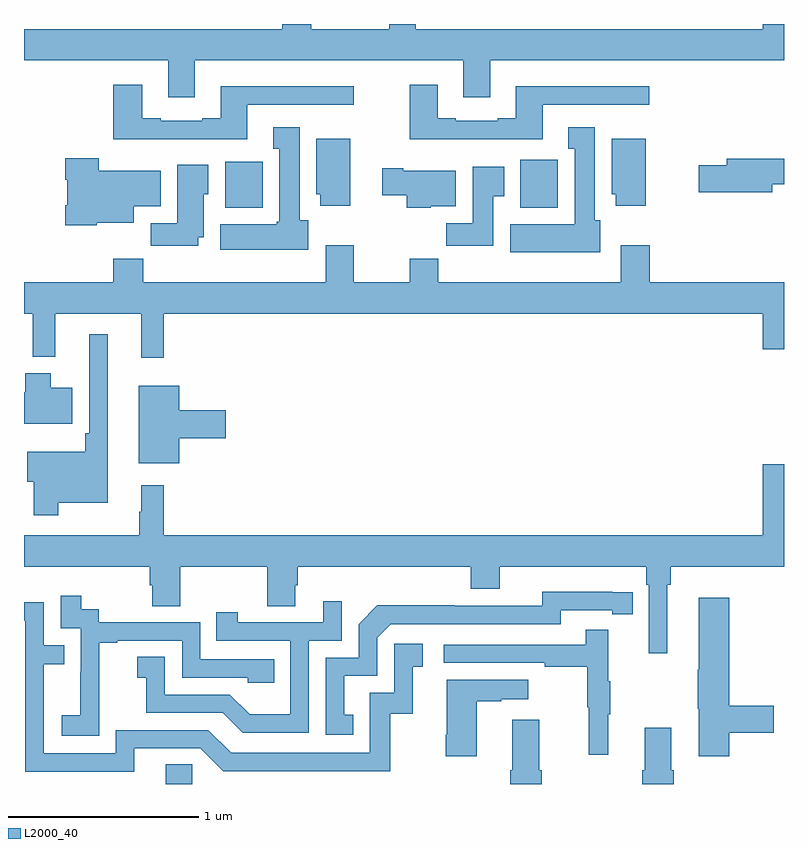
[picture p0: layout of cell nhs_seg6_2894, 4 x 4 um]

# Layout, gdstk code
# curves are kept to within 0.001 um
import gdstk
lib = gdstk.Library(unit=1e-6, precision=1e-09)
def R(c, l, rs):  # rectangles x0, y0, x1, y1
    for r in rs: c.add(gdstk.rectangle(r[:2], r[2:], *l))
def P(c, l, *ps):  # polygons
    for p in ps: c.add(gdstk.Polygon(p, *l))
L2000_40 = (2000, 40)

nhs_seg6_2894 = lib.new_cell('nhs_seg6_2894')
R(nhs_seg6_2894, L2000_40, [(281.747,971.5,281.886,971.603), (282.059,974.534,282.256,974.776), (283.613,974.534,283.809,974.785)])
P(nhs_seg6_2894, L2000_40, [(281.899,975.308),(283.313,975.308),(283.313,975.114),(283.453,975.114),(283.453,975.308),(285,975.308),(285,975.5),(284.888,975.5),(284.888,975.472),(283.063,975.472),(283.063,975.5),(282.923,975.5),(282.923,975.472),(282.511,975.472),(282.511,975.5),(282.359,975.5),(282.359,975.472),(281,975.472),(281,975.308),(281.759,975.308),(281.759,975.114),(281.899,975.114)],
  [(283.729,975.075),(284.29,975.075),(284.29,975.172),(283.589,975.172),(283.589,975.004),(283.493,975.004),(283.493,974.991),(283.273,974.991),(283.273,975.004),(283.177,975.004),(283.177,975.181),(283.03,975.181),(283.03,974.894),(283.729,974.894)],
  [(282.175,975.075),(282.736,975.075),(282.736,975.172),(282.035,975.172),(282.035,975.004),(281.939,975.004),(281.939,974.991),(281.719,974.991),(281.719,975.004),(281.623,975.004),(281.623,975.181),(281.471,975.181),(281.471,974.894),(282.175,974.894)],
  [(282.496,974.466),(282.451,974.466),(282.451,974.956),(282.311,974.956),(282.311,974.843),(282.344,974.843),(282.344,974.46),(282.331,974.46),(282.331,974.446),(282.032,974.446),(282.032,974.312),(282.496,974.312)],
  [(284.032,974.466),(284.005,974.466),(284.005,974.956),(283.865,974.956),(283.865,974.843),(283.898,974.843),(283.898,974.446),(283.559,974.446),(283.559,974.3),(284.032,974.3)],
  [(284.272,974.896),(284.093,974.896),(284.093,974.604),(284.114,974.604),(284.114,974.544),(284.272,974.544)],
  [(282.718,974.896),(282.539,974.896),(282.539,974.604),(282.56,974.604),(282.56,974.544),(282.718,974.544)],
  [(281.382,974.453),(281.578,974.453),(281.578,974.54),(281.719,974.54),(281.719,974.728),(281.394,974.728),(281.394,974.794),(281.216,974.794),(281.216,974.681),(281.228,974.681),(281.228,974.545),(281.216,974.545),(281.216,974.441),(281.382,974.441)],
  [(284.938,974.656),(285,974.656),(285,974.792),(284.699,974.792),(284.699,974.756),(284.55,974.756),(284.55,974.614),(284.938,974.614)],
  [(281.917,974.378),(281.947,974.378),(281.947,974.604),(281.971,974.604),(281.971,974.758),(281.807,974.758),(281.807,974.452),(281.668,974.452),(281.668,974.334),(281.917,974.334)],
  [(283.471,974.593),(283.528,974.593),(283.528,974.749),(283.361,974.749),(283.361,974.452),(283.222,974.452),(283.222,974.334),(283.471,974.334)],
  [(283.14,974.54),(283.273,974.54),(283.273,974.728),(282.997,974.728),(282.997,974.741),(282.885,974.741),(282.885,974.599),(283.015,974.599),(283.015,974.534),(283.14,974.534)],
  [(281.735,973.976),(284.888,973.976),(284.888,973.788),(285,973.788),(285,974.14),(284.294,974.14),(284.294,974.335),(284.141,974.335),(284.141,974.14),(283.181,974.14),(283.181,974.264),(283.03,974.264),(283.03,974.14),(282.735,974.14),(282.735,974.335),(282.587,974.335),(282.587,974.14),(281.627,974.14),(281.627,974.264),(281.471,974.264),(281.471,974.14),(281,974.14),(281,973.976),(281.047,973.976),(281.047,973.748),(281.165,973.748),(281.165,973.976),(281.618,973.976),(281.618,973.743),(281.735,973.743)],
  [(281.179,972.98),(281.44,972.98),(281.44,973.867),(281.343,973.867),(281.343,973.345),(281.323,973.345),(281.323,973.249),(281.016,973.249),(281.016,973.091),(281.05,973.091),(281.05,972.915),(281.179,972.915)],
  [(281.254,973.585),(281.14,973.585),(281.14,973.663),(281.006,973.663),(281.006,973.563),(281,973.563),(281,973.397),(281.254,973.397)],
  [(281.818,973.319),(282.061,973.319),(282.061,973.466),(281.818,973.466),(281.818,973.597),(281.603,973.597),(281.603,973.187),(281.818,973.187)],
  [(281.735,973.072),(281.618,973.072),(281.618,972.932),(281.607,972.932),(281.607,972.808),(281,972.808),(281,972.644),(281.663,972.644),(281.663,972.546),(281.675,972.546),(281.675,972.436),(281.823,972.436),(281.823,972.644),(282.28,972.644),(282.28,972.436),(282.427,972.436),(282.427,972.546),(282.44,972.546),(282.44,972.644),(283.352,972.644),(283.352,972.527),(283.504,972.527),(283.504,972.644),(284.276,972.644),(284.276,972.548),(284.289,972.548),(284.289,972.189),(284.386,972.189),(284.386,972.548),(284.405,972.548),(284.405,972.644),(285,972.644),(285,973.183),(284.888,973.183),(284.888,972.808),(281.735,972.808)],
  [(282.734,971.865),(282.685,971.865),(282.685,972.069),(282.858,972.069),(282.858,972.27),(282.93,972.342),(283.824,972.342),(283.824,972.414),(284.096,972.414),(284.096,972.394),(284.204,972.394),(284.204,972.51),(283.728,972.511),(283.728,972.438),(283.268,972.438),(283.268,972.44),(282.86,972.44),(282.762,972.342),(282.762,972.165),(282.588,972.165),(282.588,971.76),(282.734,971.76)],
  [(281.397,971.959),(281.396,971.959),(281.396,972.243),(281.491,972.243),(281.491,972.255),(281.832,972.255),(281.832,972.06),(282.177,972.06),(282.177,972.033),(282.317,972.033),(282.317,972.156),(281.928,972.156),(281.928,972.351),(281.394,972.351),(281.394,972.42),(281.302,972.42),(281.302,972.49),(281.193,972.49),(281.193,972.321),(281.298,972.321),(281.298,972.092),(281.297,972.092),(281.297,971.863),(281.199,971.863),(281.199,971.753),(281.397,971.753)],
  [(284.711,971.77),(284.947,971.77),(284.947,971.912),(284.711,971.912),(284.711,972.481),(284.552,972.481),(284.552,972.101),(284.545,972.101),(284.545,971.895),(284.552,971.895),(284.552,971.646),(284.711,971.646)],
  [(282.498,972.255),(282.672,972.255),(282.672,972.463),(282.575,972.463),(282.575,972.351),(282.124,972.351),(282.124,972.403),(282.013,972.403),(282.013,972.255),(282.402,972.255),(282.402,971.866),(282.188,971.866),(282.084,971.97),(281.742,971.97),(281.742,972.169),(281.595,972.169),(281.595,972.059),(281.644,972.059),(281.644,971.874),(282.047,971.874),(282.152,971.769),(282.498,971.769)],
  [(281.581,971.688),(281.928,971.688),(282.048,971.568),(282.928,971.568),(282.928,971.871),(283.046,971.871),(283.046,972.117),(283.099,972.117),(283.099,972.238),(282.948,972.238),(282.948,971.979),(282.819,971.979),(282.819,971.664),(282.09,971.664),(281.97,971.784),(281.484,971.784),(281.484,971.661),(281.103,971.661),(281.103,972.13),(281.213,972.13),(281.213,972.231),(281.103,972.231),(281.103,972.456),(281,972.456),(281,972.36),(281.007,972.36),(281.007,971.565),(281.581,971.565)],
  [(284.075,971.867),(284.086,971.867),(284.086,972.041),(284.075,972.041),(284.075,972.313),(283.957,972.313),(283.957,972.234),(283.209,972.234),(283.209,972.138),(283.741,972.138),(283.741,972.118),(283.965,972.118),(283.965,971.904),(283.972,971.904),(283.972,971.655),(284.075,971.655)],
  [(283.384,971.935),(283.511,971.935),(283.511,971.945),(283.654,971.945),(283.654,972.049),(283.226,972.049),(283.226,971.758),(283.219,971.758),(283.219,971.646),(283.384,971.646)],
  [(283.724,971.572),(283.711,971.572),(283.711,971.839),(283.571,971.839),(283.571,971.572),(283.559,971.572),(283.559,971.5),(283.724,971.5)],
  [(284.42,971.572),(284.407,971.572),(284.407,971.797),(284.267,971.797),(284.267,971.572),(284.255,971.572),(284.255,971.5),(284.42,971.5)])

lib.write_gds('nhs_seg6_2894.gds')
